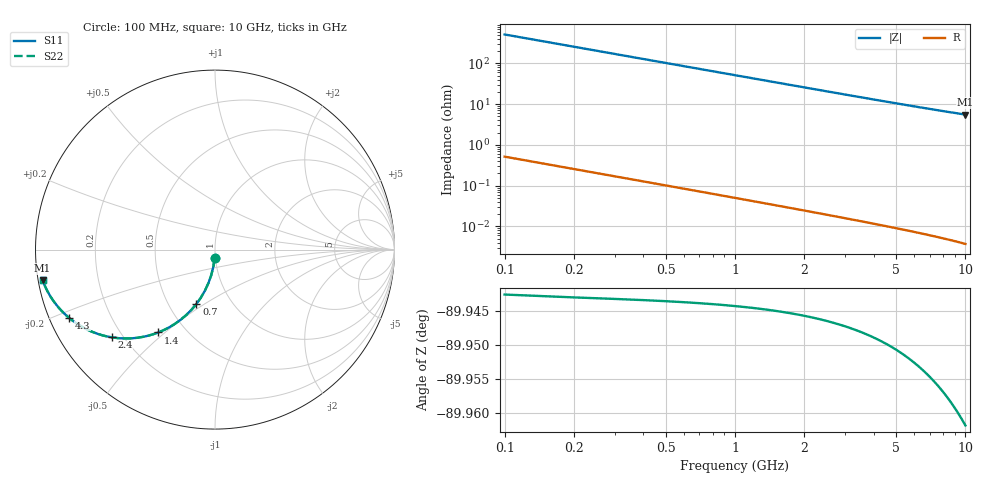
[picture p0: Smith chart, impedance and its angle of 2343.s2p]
# Hz S RI R 50.00
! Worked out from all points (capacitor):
!   100 points, 100 MHz to 10 GHz, reference 50 ohm
!   read as one part in shunt: C = 3.09 pF near 100 MHz
!   lowest |Z| = 5.57 ohm at 10 GHz (marker M1)
!   S11 on the Smith chart (normalised r, x): 100 MHz: 0.99, -0.10; 700 MHz: 0.69, -0.46; 1.4 GHz: 0.35, -0.47; 2.4 GHz: 0.16, -0.36; 4.3 GHz: 0.06, -0.22; 10 GHz: 0.01, -0.09
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1e8  -0.00234 -0.0482  0.9975 -0.0486  0.9975 -0.0486  -0.00234 -0.0482
2e8  -0.00937 -0.0958  0.9905 -0.0966  0.9905 -0.0966  -0.00937 -0.0958
3e8  -0.0208 -0.142  0.979 -0.1432  0.979 -0.1432  -0.0208 -0.142
4e8  -0.0365 -0.1863  0.9634 -0.1879  0.9634 -0.1879  -0.0365 -0.1863
5e8  -0.0558 -0.2281  0.9441 -0.2302  0.9441 -0.2302  -0.0558 -0.2281
6e8  -0.0784 -0.2671  0.9215 -0.2696  0.9215 -0.2696  -0.0784 -0.2671
7e8  -0.1037 -0.303  0.8961 -0.3059  0.8961 -0.3059  -0.1037 -0.303
8e8  -0.1313 -0.3356  0.8686 -0.3389  0.8686 -0.3389  -0.1313 -0.3356
1e9  -0.1909 -0.3905  0.8089 -0.3947  0.8089 -0.3947  -0.1909 -0.3905
1.2e9  -0.2536 -0.4321  0.7463 -0.4371  0.7463 -0.4371  -0.2536 -0.4321
1.4e9  -0.3162 -0.4616  0.6837 -0.4674  0.6837 -0.4674  -0.3162 -0.4616
1.8e9  -0.4332 -0.4913  0.5667 -0.4988  0.5667 -0.4988  -0.4332 -0.4913
2.1e9  -0.5098 -0.495  0.49 -0.5038  0.49 -0.5038  -0.5098 -0.495
2.4e9  -0.576 -0.4886  0.4238 -0.4987  0.4238 -0.4987  -0.576 -0.4886
2.9e9  -0.665 -0.4654  0.3348 -0.4775  0.3348 -0.4775  -0.665 -0.4654
3.4e9  -0.7319 -0.4352  0.2678 -0.4495  0.2678 -0.4495  -0.7319 -0.4352
3.8e9  -0.7734 -0.41  0.2263 -0.426  0.2263 -0.426  -0.7734 -0.41
4.3e9  -0.814 -0.3794  0.1857 -0.3975  0.1857 -0.3975  -0.814 -0.3794
5.1e9  -0.8606 -0.3348  0.1391 -0.3565  0.1391 -0.3565  -0.8606 -0.3348
6.7e9  -0.9147 -0.2639  0.0847 -0.2927  0.0847 -0.2927  -0.9147 -0.2639
8.4e9  -0.9445 -0.2092  0.0546 -0.2459  0.0546 -0.2459  -0.9445 -0.2092
1e10  -0.9606 -0.1705  0.0383 -0.2148  0.0383 -0.2148  -0.9606 -0.1705
